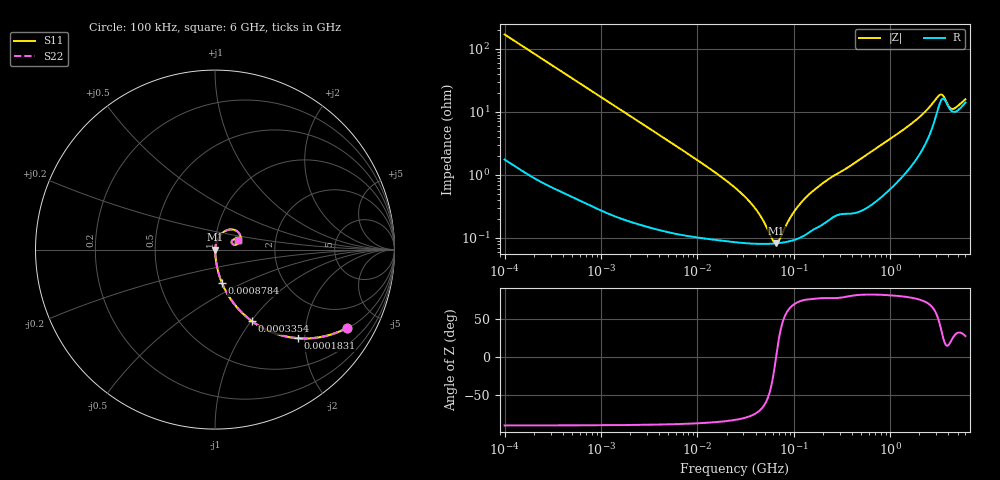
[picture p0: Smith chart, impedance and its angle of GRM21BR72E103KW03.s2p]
!Murata Part Number: GRM21BR72E103KW03
!These Parameters are Measured in Series Mode Connection
!Data Generated on Mar 30, 2021
!  o--ll--o
!Port1  Port2
!  o------o
!Operation Temp=25[degC], DC Bias Voltage=0[V]
!Freq. Start=100[kHz] Stop=6[GHz] 401[Steps]
# Hz S RI R 50
!Freq.(Hz) S11(Real) S11(Imag) S21(Real) S21(Imag) S12(Real) S12(Imag) S22(Real) S22(Imag)
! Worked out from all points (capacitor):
!   401 points, 100 kHz to 6 GHz, reference 50 ohm
!   read as one part in series: C = 9.45 nF near 105.7 kHz
!   lowest |Z| = 81.9 mohm at 65.93 MHz (marker M1)
!   series resonance near 65.31 MHz, so ESL is about 630 pH
!   S11 on the Smith chart (normalised r, x): 100 kHz: 1.03, -3.36; 183.1 kHz: 1.02, -1.84; 335.4 kHz: 1.01, -1.01; 878.4 kHz: 1.01, -0.39; 6 GHz: 1.28, +0.15
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100000  0.7365 -0.4354  0.2635 0.4354  0.2635 0.4354  0.7365 -0.4354
183146  0.4597 -0.4931  0.5403 0.4931  0.5403 0.4931  0.4597 -0.4931
335426  0.2059 -0.3985  0.7941 0.3985  0.7941 0.3985  0.2059 -0.3985
631452  0.0707 -0.2494  0.9293 0.2494  0.9293 0.2494  0.0707 -0.2494
878385  0.0389 -0.186  0.9611 0.186  0.9611 0.186  0.0389 -0.186
3987316  0.00317 -0.0429  0.9968 0.0429  0.9968 0.0429  0.00317 -0.0429
1.337449e7  0.00111 -0.0125  0.9989 0.0125  0.9989 0.0125  0.00111 -0.0125
2.517799e7  0.000882 -0.00595  0.9991 0.00595  0.9991 0.00595  0.000882 -0.00595
4.018763e7  0.000811 -0.00274  0.9992 0.00274  0.9992 0.00274  0.000811 -0.00274
4.739851e7  0.000802 -0.00177  0.9992 0.00177  0.9992 0.00177  0.000802 -0.00177
6.07118e7  0.000808 -0.000398  0.9992 0.000398  0.9992 0.000398  0.000808 -0.000398
6.593397e7  0.000816 5.2e-05  0.9992 -5.2e-05  0.9992 -5.2e-05  0.000816 5.2e-05
7.160533e7  0.000828 0.000503  0.9992 -0.000503  0.9992 -0.000503  0.000828 0.000503
8.680865e7  0.000872 0.00157  0.9991 -0.00157  0.9991 -0.00157  0.000872 0.00157
1.023848e8  0.000937 0.00254  0.9991 -0.00254  0.9991 -0.00254  0.000937 0.00254
1.546735e8  0.00134 0.00524  0.9987 -0.00524  0.9987 -0.00524  0.00134 0.00524
9.76689e8  0.00697 0.0355  0.993 -0.0355  0.993 -0.0355  0.00697 0.0355
2.229039e9  0.0346 0.086  0.9654 -0.086  0.9654 -0.086  0.0346 0.086
3.187187e9  0.1213 0.1036  0.8787 -0.1036  0.8787 -0.1036  0.1213 0.1036
3.461335e9  0.1437 0.0668  0.8563 -0.0668  0.8563 -0.0668  0.1437 0.0668
4.313271e9  0.0944 0.0346  0.9056 -0.0346  0.9056 -0.0346  0.0944 0.0346
6e9  0.1259 0.0556  0.8741 -0.0556  0.8741 -0.0556  0.1259 0.0556
